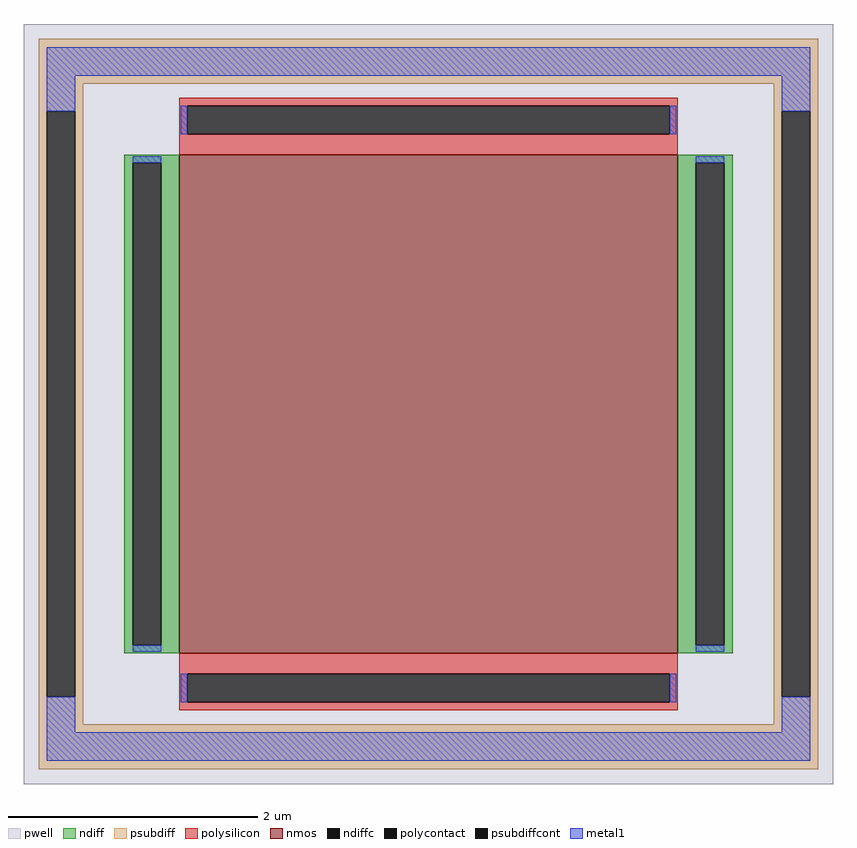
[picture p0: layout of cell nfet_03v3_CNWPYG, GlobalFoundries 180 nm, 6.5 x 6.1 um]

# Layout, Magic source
magic
tech gf180mcuD
magscale 1 10
<< pwell >>
rect -650 -610 650 610
<< nmos >>
rect -400 -400 400 400
<< ndiff >>
rect -488 387 -400 400
rect -488 -387 -475 387
rect -429 -387 -400 387
rect -488 -400 -400 -387
rect 400 387 488 400
rect 400 -387 429 387
rect 475 -387 488 387
rect 400 -400 488 -387
<< ndiffc >>
rect -475 -387 -429 387
rect 429 -387 475 387
<< psubdiff >>
rect -626 514 626 586
rect -626 470 -554 514
rect -626 -470 -613 470
rect -567 -470 -554 470
rect 554 470 626 514
rect -626 -514 -554 -470
rect 554 -470 567 470
rect 613 -470 626 470
rect 554 -514 626 -470
rect -626 -586 626 -514
<< psubdiffcont >>
rect -613 -470 -567 470
rect 567 -470 613 470
<< polysilicon >>
rect -400 479 400 492
rect -400 433 -387 479
rect 387 433 400 479
rect -400 400 400 433
rect -400 -433 400 -400
rect -400 -479 -387 -433
rect 387 -479 400 -433
rect -400 -492 400 -479
<< polycontact >>
rect -387 433 387 479
rect -387 -479 387 -433
<< metal1 >>
rect -613 527 613 573
rect -613 470 -567 527
rect -398 433 -387 479
rect 387 433 398 479
rect 567 470 613 527
rect -475 387 -429 398
rect -475 -398 -429 -387
rect 429 387 475 398
rect 429 -398 475 -387
rect -613 -527 -567 -470
rect -398 -479 -387 -433
rect 387 -479 398 -433
rect 567 -527 613 -470
rect -613 -573 613 -527
<< properties >>
string FIXED_BBOX -590 -550 590 550
string gencell nfet_03v3
string library gf180mcu
string parameters w 4 l 4 m 1 nf 1 diffcov 100 polycov 100 guard 1 glc 1 grc 1 gtc 0 gbc 0 tbcov 100 rlcov 100 topc 1 botc 1 poverlap 0 doverlap 1 lmin 0.28 wmin 0.22 class mosfet full_metal 1 compatible {nfet_03v3 nfet_05v0 nfet_06v0 nfet_06v0_nvt}
<< end >>
